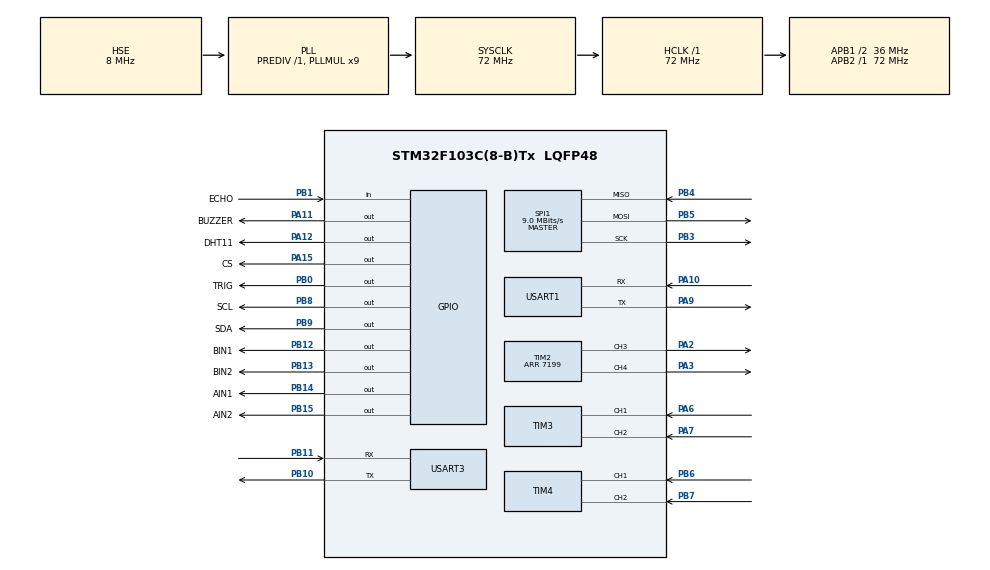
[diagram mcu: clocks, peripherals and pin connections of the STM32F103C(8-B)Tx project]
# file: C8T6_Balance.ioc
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Mcu.Family=STM32F1
Mcu.Name=STM32F103C(8-B)Tx
Mcu.Package=LQFP48
NVIC.PriorityGroup=NVIC_PRIORITYGROUP_4
NVIC.TIM1_UP_IRQn=true\:0\:0\:false\:false\:true\:true\:true\:true
NVIC.USART1_IRQn=true\:0\:0\:false\:false\:true\:true\:true\:true
NVIC.USART3_IRQn=true\:0\:0\:false\:false\:true\:true\:true\:true
PA10.Mode=Asynchronous
PA10.Signal=USART1_RX
PA11.GPIO_Label=BUZZER
PA11.GPIO_ModeDefaultOutputPP=GPIO_MODE_OUTPUT_OD
PA11.GPIO_PuPd=GPIO_PULLUP
PA11.GPIO_Speed=GPIO_SPEED_FREQ_HIGH
PA11.PinState=GPIO_PIN_SET
PA11.Signal=GPIO_Output
PA12.GPIO_Label=DHT11
PA12.GPIO_Speed=GPIO_SPEED_FREQ_HIGH
PA12.Signal=GPIO_Output
PA13.Mode=Serial_Wire
PA13.Signal=SYS_JTMS-SWDIO
PA14.Mode=Serial_Wire
PA14.Signal=SYS_JTCK-SWCLK
PA15.GPIO_Label=CS
PA15.GPIO_ModeDefaultOutputPP=GPIO_MODE_OUTPUT_PP
PA15.GPIO_Speed=GPIO_SPEED_FREQ_HIGH
PA15.Signal=GPIO_Output
PA2.Signal=S_TIM2_CH3
PA3.Signal=S_TIM2_CH4
PA6.Signal=S_TIM3_CH1
PA7.Signal=S_TIM3_CH2
PA9.Mode=Asynchronous
PA9.Signal=USART1_TX
PB0.GPIO_Label=TRIG
PB0.Signal=GPIO_Output
PB1.GPIO_Label=ECHO
PB1.Signal=GPIO_Input
PB10.Mode=Asynchronous
PB10.Signal=USART3_TX
PB11.Mode=Asynchronous
PB11.Signal=USART3_RX
PB12.GPIO_Label=BIN1
PB12.GPIO_Speed=GPIO_SPEED_FREQ_HIGH
PB12.Signal=GPIO_Output
PB13.GPIO_Label=BIN2
PB13.GPIO_Speed=GPIO_SPEED_FREQ_HIGH
PB13.Signal=GPIO_Output
PB14.GPIO_Label=AIN1
PB14.GPIO_Speed=GPIO_SPEED_FREQ_HIGH
PB14.Signal=GPIO_Output
PB15.GPIO_Label=AIN2
PB15.GPIO_Speed=GPIO_SPEED_FREQ_HIGH
PB15.Signal=GPIO_Output
PB3.Mode=Full_Duplex_Master
PB3.Signal=SPI1_SCK
PB4.Mode=Full_Duplex_Master
PB4.Signal=SPI1_MISO
PB5.Mode=Full_Duplex_Master
PB5.Signal=SPI1_MOSI
PB6.Signal=S_TIM4_CH1
PB7.Signal=S_TIM4_CH2
PB8.GPIO_Label=SCL
PB8.GPIO_ModeDefaultOutputPP=GPIO_MODE_OUTPUT_OD
PB8.GPIO_PuPd=GPIO_PULLUP
PB8.GPIO_Speed=GPIO_SPEED_FREQ_HIGH
PB8.Signal=GPIO_Output
PB9.GPIO_Label=SDA
PB9.GPIO_ModeDefaultOutputPP=GPIO_MODE_OUTPUT_OD
PB9.GPIO_PuPd=GPIO_PULLUP
PB9.GPIO_Speed=GPIO_SPEED_FREQ_HIGH
PB9.Signal=GPIO_Output
PD0-OSC_IN.Mode=HSE-External-Oscillator
PD0-OSC_IN.Signal=RCC_OSC_IN
PD1-OSC_OUT.Mode=HSE-External-Oscillator
PD1-OSC_OUT.Signal=RCC_OSC_OUT
ProjectManager.HeapSize=0x200
ProjectManager.StackSize=0x400
ProjectManager.TargetToolchain=STM32CubeIDE
RCC.AHBFreq_Value=72000000
RCC.APB1CLKDivider=RCC_HCLK_DIV2
RCC.APB1Freq_Value=36000000
RCC.APB1TimFreq_Value=72000000
RCC.APB2Freq_Value=72000000
RCC.APB2TimFreq_Value=72000000
RCC.HCLKFreq_Value=72000000
RCC.PLLMUL=RCC_PLL_MUL9
RCC.PLLSourceVirtual=RCC_PLLSOURCE_HSE
RCC.SYSCLKFreq_VALUE=72000000
RCC.SYSCLKSource=RCC_SYSCLKSOURCE_PLLCLK
RCC.USBFreq_Value=72000000
SH.S_TIM2_CH3.0=TIM2_CH3,PWM Generation3 CH3
SH.S_TIM2_CH4.0=TIM2_CH4,PWM Generation4 CH4
SH.S_TIM3_CH1.0=TIM3_CH1,Encoder_Interface
SH.S_TIM3_CH2.0=TIM3_CH2,Encoder_Interface
SH.S_TIM4_CH1.0=TIM4_CH1,Encoder_Interface
SH.S_TIM4_CH2.0=TIM4_CH2,Encoder_Interface
SPI1.BaudRatePrescaler=SPI_BAUDRATEPRESCALER_8
SPI1.CalculateBaudRate=9.0 MBits/s
SPI1.Direction=SPI_DIRECTION_2LINES
SPI1.Mode=SPI_MODE_MASTER
SPI1.VirtualType=VM_MASTER
TIM1.Period=10000-1
TIM1.Prescaler=72-1
TIM2.Channel-PWM\ Generation3\ CH3=TIM_CHANNEL_3
TIM2.Channel-PWM\ Generation4\ CH4=TIM_CHANNEL_4
TIM2.Period=7199
TIM4.EncoderMode=TIM_ENCODERMODE_TI12
USART1.VirtualMode=VM_ASYNC
USART3.VirtualMode=VM_ASYNC
VP_TIM1_VS_ClockSourceINT.Mode=Internal
VP_TIM2_VS_ClockSourceINT.Mode=Internal
board=custom

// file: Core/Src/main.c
/* USER CODE BEGIN Header */
/**
  ******************************************************************************
  * @file           : main.c
  * @brief          : Main program body
  ******************************************************************************
  * @attention
  *
  * Copyright (c) 2024 STMicroelectronics.
  * All rights reserved.
  *
  * This software is licensed under terms that can be found in the LICENSE file
  * in the root directory of this software component.
  * If no LICENSE file comes with this software, it is provided AS-IS.
  *
  ******************************************************************************
  */
/* USER CODE END Header */
#include "main.h"
#include "spi.h"
#include "tim.h"
#include "usart.h"
#include "gpio.h"

/* USER CODE BEGIN Includes */
#include "robot_config.h"
/* USER CODE END Includes */

/* USER CODE BEGIN PTD */
// MOTOR参数
int Vertical_out, Velocity_out, Turn_out; // 直立环&速度环&转向环的输出变量
int Encoder_Left, Encoder_Right, Balance_PWM;
int Moto1, Moto2;
int PWM_out, Turn_Pwm; //闭环输出
int dead_zone =300;// 3000 ;		//L298N控制死区 0 - 3000
uint8_t AIN1, AIN2;//控制电机正反转
uint8_t BIN1, BIN2;
uint8_t Moto_Flag=0;//电机控制标志

// PID参数
float Vertical_Kp= 0, Vertical_Kd= 0;	//直立环Kp,Kd
float kp=10,ki=0.5;

// MPU6050数据
float temp;
float pitch = 0, roll = 0, yaw = 0;   //欧拉角
short gyro[3] = {0};//gyro_x, gyro_y, gyro_z;        // 角速度
short acc[3] = {0};//acc_x, acc_y, acc_z;           // 加速度
float Med_Angle=-0.2;//机械中值，能使得小车真正平衡住的角度

// 其他外设数据
float temperature = 0;
float humidity = 0;
float distance = 0;

// openmv接收变量
uint8_t USART1_RXbuff;
extern uint8_t center_x ,center_y ,color_type ;
extern double center_x_cm,center_y_cm;

uint8_t Start_Flag=0;//系统初始化完成标志
uint8_t i = 0;

/* USER CODE END PTD */

void SystemClock_Config(void);

/* USER CODE BEGIN 0 */
void HAL_UART_RxCpltCallback(UART_HandleTypeDef *huart)
{
    uint16_t tempt;/*定义临时变量存放接受的数据*/
    if(huart->Instance==USART1)
    {
        tempt=USART1_RXbuff;

        openmv_receive_data(tempt);
    }
    HAL_UART_Receive_IT(&huart1,(void *)&USART1_RXbuff,1);/*再次开启接收中断*/
}
/* USER CODE END 0 */

int main(void)
{

  /* MCU Configuration--------------------------------------------------------*/

  /* Reset of all peripherals, Initializes the Flash interface and the Systick. */
  HAL_Init();

  /* USER CODE BEGIN Init */
  // openmv接收变量
    int temp_x = center_x,temp_y = center_y;
    char temp_color = color_type;
    /* USER CODE END Init */

  /* Configure the system clock */
  SystemClock_Config();

  /* Initialize all configured peripherals */
  MX_GPIO_Init();
  MX_USART3_UART_Init();
  MX_TIM3_Init();
  MX_TIM4_Init();
  MX_TIM2_Init();
  MX_TIM1_Init();
  MX_USART1_UART_Init();
  MX_SPI1_Init();
  /* USER CODE BEGIN 2 */
    HAL_UART_Receive_IT(&huart1,(void *)&USART1_RXbuff,1);

  // 外设初始化
    PCA9685_Init(50,60);   //PCA9685--16路舵机初始化  频率50Hz -- 0度
//    DHT11_GPIO_Init();          //DHT11引脚初始化
    Ultrasonic_Init();
//    Buzzer_Init();

//    // MPU6050初始化
//    MPU6050_Init();
//    // DMP初始化
//    while( mpu_dmp_init() )
//    {
//        printf("dmp error\r\n");
//        HAL_Delay(1000);
//    }
//    printf("Initialization Data Succeed \r\n");
//    //SERVO_PWM
//    HAL_TIM_PWM_Start(&htim1, TIM_CHANNEL_1); // 启动定时器1的通道1的PWM输出
//    HAL_TIM_PWM_Start(&htim1, TIM_CHANNEL_4); // 启动定时器1的通道4的PWM输出
//    // MOTOR_PWM
//    HAL_TIM_PWM_Start(&htim2, TIM_CHANNEL_3);
//    HAL_TIM_PWM_Start(&htim2, TIM_CHANNEL_4);
//
//    //编码器
//    HAL_TIM_Encoder_Start(&htim3,TIM_CHANNEL_1);
//    HAL_TIM_Encoder_Start(&htim3,TIM_CHANNEL_2);
//    HAL_TIM_Encoder_Start(&htim4,TIM_CHANNEL_1);
//    HAL_TIM_Encoder_Start(&htim4,TIM_CHANNEL_2);

    Start_Flag = 1; //标志系统初始化成功
    printf(" Start_Flag Succeed \r\n");

  /* USER CODE END 2 */

  /* Infinite loop */
  while (1)
  {

    /* USER CODE BEGIN 3 */
      //获取欧拉角
//      if( mpu_dmp_get_data(&pitch,&roll,&yaw) == 0 )
//      {
//          MPU6050ReadGyro(gyro);  // 读取角速度
//          MPU6050ReadAcc(acc); // 读取加速度
//          temp = MPU6050_GetTemp();
//          printf("pitch:%f,roll:%f,yaw:%f,temp:%f\r\n",pitch,roll,yaw,temp);
//          calculate();
//      }

// openmv_sg90_arm
//      temp_x = center_x,temp_y = center_y,temp_color = color_type;
//      HAL_Delay(200);
//      coordinate_transformation(temp_x,temp_y);
//      if(temp_color == 'B')
//      {
//          blue_task();
//      }
//
////      else if(temp_color == 'Y')
////      {
////          yellow_task();
////      }
//
//      else
//      {
//          servo_reset();
//          continue;
//      }
//      center_x = 0;
//      center_y = 0;
//      temp_color = 'A';
//      HAL_Delay(100);

// 舵机机械臂
//    setAngle(0,90);
//    HAL_Delay(20);
//    setAngle(1,85);
//    HAL_Delay(20);
//    setAngle(2,97);
//    HAL_Delay(20);
//    setAngle(3,82);
//    HAL_Delay(20);
//    setAngle(4,85);
//    HAL_Delay(20);
//    setAngle(5,173);
//    HAL_Delay(20);
    setAngle(6,180);
    HAL_Delay(20);
    setAngle(7,110);
//
//    Buzzer_On();
//    HAL_Delay(1000);
//    Buzzer_Off();
//    HAL_Delay(1000);

// 外设
//    DHT11_Read_Data();
//    temperature = Get_temperature();
//    humidity = Get_humidity();
    distance = Hcsr04GetLength();
//    AdjustServo();

  }
  /* USER CODE END 3 */
}

void SystemClock_Config(void)
{
  RCC_OscInitTypeDef RCC_OscInitStruct = {0};
  RCC_ClkInitTypeDef RCC_ClkInitStruct = {0};

  /** Initializes the RCC Oscillators according to the specified parameters
  * in the RCC_OscInitTypeDef structure.
  */
  RCC_OscInitStruct.OscillatorType = RCC_OSCILLATORTYPE_HSE;
  RCC_OscInitStruct.HSEState = RCC_HSE_ON;
  RCC_OscInitStruct.HSEPredivValue = RCC_HSE_PREDIV_DIV1;
  RCC_OscInitStruct.HSIState = RCC_HSI_ON;
  RCC_OscInitStruct.PLL.PLLState = RCC_PLL_ON;
  RCC_OscInitStruct.PLL.PLLSource = RCC_PLLSOURCE_HSE;
  RCC_OscInitStruct.PLL.PLLMUL = RCC_PLL_MUL9;
  if (HAL_RCC_OscConfig(&RCC_OscInitStruct) != HAL_OK)
  {
    Error_Handler();
  }

  /** Initializes the CPU, AHB and APB buses clocks
  */
  RCC_ClkInitStruct.ClockType = RCC_CLOCKTYPE_HCLK|RCC_CLOCKTYPE_SYSCLK
                              |RCC_CLOCKTYPE_PCLK1|RCC_CLOCKTYPE_PCLK2;
  RCC_ClkInitStruct.SYSCLKSource = RCC_SYSCLKSOURCE_PLLCLK;
  RCC_ClkInitStruct.AHBCLKDivider = RCC_SYSCLK_DIV1;
  RCC_ClkInitStruct.APB1CLKDivider = RCC_HCLK_DIV2;
  RCC_ClkInitStruct.APB2CLKDivider = RCC_HCLK_DIV1;

  if (HAL_RCC_ClockConfig(&RCC_ClkInitStruct, FLASH_LATENCY_2) != HAL_OK)
  {
    Error_Handler();
  }
}

void Error_Handler(void)
{
  __disable_irq();
  while (1)
  {
  }
}
